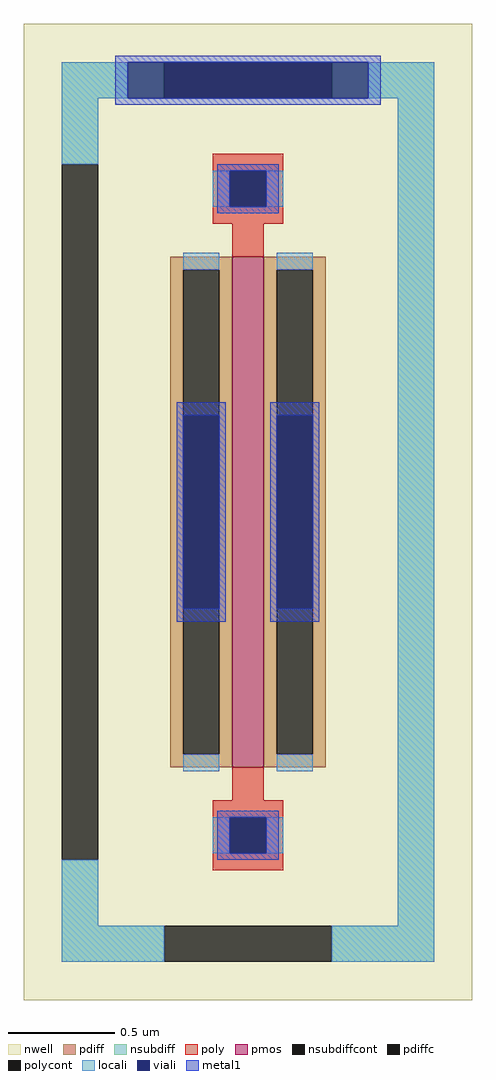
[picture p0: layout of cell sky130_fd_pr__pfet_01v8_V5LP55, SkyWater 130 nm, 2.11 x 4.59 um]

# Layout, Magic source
magic
tech sky130A
magscale 1 2
<< nwell >>
rect -211 -459 211 459
<< pmos >>
rect -15 -240 15 240
<< pdiff >>
rect -73 228 -15 240
rect -73 -228 -61 228
rect -27 -228 -15 228
rect -73 -240 -15 -228
rect 15 228 73 240
rect 15 -228 27 228
rect 61 -228 73 228
rect 15 -240 73 -228
<< pdiffc >>
rect -61 -228 -27 228
rect 27 -228 61 228
<< nsubdiff >>
rect -175 389 -79 423
rect 79 389 175 423
rect -175 327 -141 389
rect -175 -389 -141 -327
rect 141 -389 175 389
rect -175 -423 -79 -389
rect 79 -423 175 -389
<< nsubdiffcont >>
rect -79 389 79 423
rect -175 -327 -141 327
rect -79 -423 79 -389
<< poly >>
rect -33 321 33 337
rect -33 287 -17 321
rect 17 287 33 321
rect -33 271 33 287
rect -15 240 15 271
rect -15 -271 15 -240
rect -33 -287 33 -271
rect -33 -321 -17 -287
rect 17 -321 33 -287
rect -33 -337 33 -321
<< polycont >>
rect -17 287 17 321
rect -17 -321 17 -287
<< locali >>
rect -175 389 -113 423
rect 113 389 175 423
rect -175 327 -141 389
rect -33 287 -17 321
rect 17 287 33 321
rect -61 228 -27 244
rect -61 -244 -27 -228
rect 27 228 61 244
rect 27 -244 61 -228
rect -33 -321 -17 -287
rect 17 -321 33 -287
rect -175 -389 -141 -327
rect 141 -389 175 389
rect -175 -423 -79 -389
rect 79 -423 175 -389
<< viali >>
rect -113 389 -79 423
rect -79 389 79 423
rect 79 389 113 423
rect -17 287 17 321
rect -61 -91 -27 91
rect 27 -91 61 91
rect -17 -321 17 -287
<< metal1 >>
rect -125 423 125 429
rect -125 389 -113 423
rect 113 389 125 423
rect -125 383 125 389
rect -29 321 29 327
rect -29 287 -17 321
rect 17 287 29 321
rect -29 281 29 287
rect -67 91 -21 103
rect -67 -91 -61 91
rect -27 -91 -21 91
rect -67 -103 -21 -91
rect 21 91 67 103
rect 21 -91 27 91
rect 61 -91 67 91
rect 21 -103 67 -91
rect -29 -287 29 -281
rect -29 -321 -17 -287
rect 17 -321 29 -287
rect -29 -327 29 -321
<< properties >>
string gencell sky130_fd_pr__pfet_01v8
string FIXED_BBOX -158 -406 158 406
string parameters w 2.4 l 0.15 m 1 nf 1 diffcov 100 polycov 100 guard 1 glc 1 grc 0 gtc 1 gbc 1 tbcov 100 rlcov 100 topc 1 botc 1 poverlap 0 doverlap 1 lmin 0.15 wmin 0.42 compatible {sky130_fd_pr__pfet_01v8  sky130_fd_pr__pfet_01v8_lvt sky130_fd_pr__pfet_01v8_hvt  sky130_fd_pr__pfet_g5v0d10v5} full_metal 1 viasrc 40 viadrn 40 viagate 100 viagb 0 viagr 0 viagl 0 viagt 80
string library sky130
<< end >>
